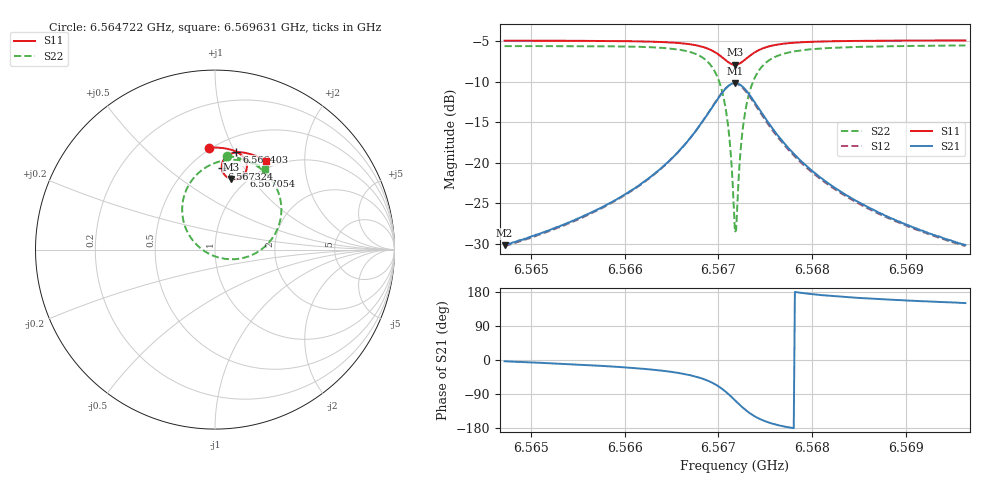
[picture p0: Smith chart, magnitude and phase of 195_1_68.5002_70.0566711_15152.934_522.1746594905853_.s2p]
#  HZ  S  RI  R  50.00
! Rohde & Schwarz Vector Network Analyzer
! Rohde-Schwarz,ZNB20-2Port,1311601062101988,3.16
! Created: UTC 3/20/2024, 5:12:24 PM
! freq[Hz]  re:S11  im:S11  re:S21  im:S21  re:S12  im:S12  re:S22  im:S22
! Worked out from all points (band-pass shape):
!   401 points, 6.564722 GHz to 6.569631 GHz, reference 50 ohm
!   highest |S21| = -10.15 dB at 6.567176 GHz (marker M1); lowest = -30.2 dB at 6.564722 GHz (marker M2)
!   |S21| within 3 dB of the highest: 6.566932 GHz to 6.567423 GHz (490 kHz wide, 0.00746 % of centre)
!   lowest |S11| = -7.9 dB at 6.567176 GHz (marker M3), VSWR 2.35, Z = 42.7 + j40.1 ohm
!   |S11| at or under -10 dB: nowhere
!   |S22| runs from -28.6 to -5.5 dB; largest |S21 - S12| = 0.016
!   S11 on the Smith chart (normalised r, x): 6.564722 GHz: 0.49, +0.82; 6.566403 GHz: 0.64, +1.02; 6.567054 GHz: 0.91, +0.94; 6.567324 GHz: 0.70, +0.80; 6.569631 GHz: 0.89, +1.30
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6.5647217e9  -0.0345 0.568  0.0308 -0.00181  0.0304 -0.00243  0.067 0.5222
6.565544e9  0.0344 0.5665  0.0452 -0.01  0.0444 -0.0107  0.1494 0.5048
6.5663664e9  0.1151 0.547  0.0801 -0.0414  0.0789 -0.0423  0.2695 0.4391
6.5664032e9  0.1195 0.5449  0.0828 -0.0446  0.0816 -0.0456  0.2769 0.4325
6.5666732e9  0.1531 0.5209  0.1062 -0.0853  0.1045 -0.087  0.3382 0.3528
6.5668573e9  0.1744 0.4847  0.1174 -0.1487  0.1143 -0.1518  0.3698 0.2308
6.5669678e9  0.1761 0.4477  0.1015 -0.2136  0.0957 -0.2178  0.3444 0.1069
6.5670537e9  0.158 0.4132  0.0531 -0.2725  0.0429 -0.2757  0.2542 -0.00233
6.5670905e9  0.1423 0.4006  0.0178 -0.2924  0.00553 -0.2937  0.1886 -0.0371
6.5671151e9  0.1293 0.3947  -0.0102 -0.3012  -0.0236 -0.3004  0.1367 -0.0505
6.5671641e9  0.0993 0.3917  -0.0722 -0.3018  -0.0862 -0.2963  0.025 -0.0455
6.5671764e9  0.0918 0.393  -0.0878 -0.2982  -0.1014 -0.2913  -0.0024 -0.0371
6.5671887e9  0.0843 0.395  -0.103 -0.2929  -0.116 -0.285  -0.0287 -0.0256
6.567201e9  0.0772 0.398  -0.1173 -0.2861  -0.1299 -0.2772  -0.0533 -0.0121
6.5672378e9  0.0587 0.4108  -0.155 -0.259  -0.1648 -0.2473  -0.1157 0.0415
6.5672623e9  0.0495 0.4218  -0.174 -0.2366  -0.1817 -0.2239  -0.1457 0.0836
6.5673237e9  0.038 0.4523  -0.2001 -0.177  -0.2025 -0.1641  -0.1812 0.1916
6.5674219e9  0.0443 0.4927  -0.197 -0.0988  -0.1949 -0.0892  -0.1623 0.3271
6.5675692e9  0.0721 0.525  -0.1613 -0.0356  -0.1577 -0.0304  -0.0858 0.4324
6.5679987e9  0.1404 0.5422  -0.0886 0.00974  -0.0864 0.0111  0.0721 0.499
6.5688211e9  0.2214 0.5241  -0.0431 0.0163  -0.042 0.0166  0.2044 0.484
6.5696311e9  0.2829 0.4955  -0.0269 0.0154  -0.0263 0.0154  0.2806 0.4514
